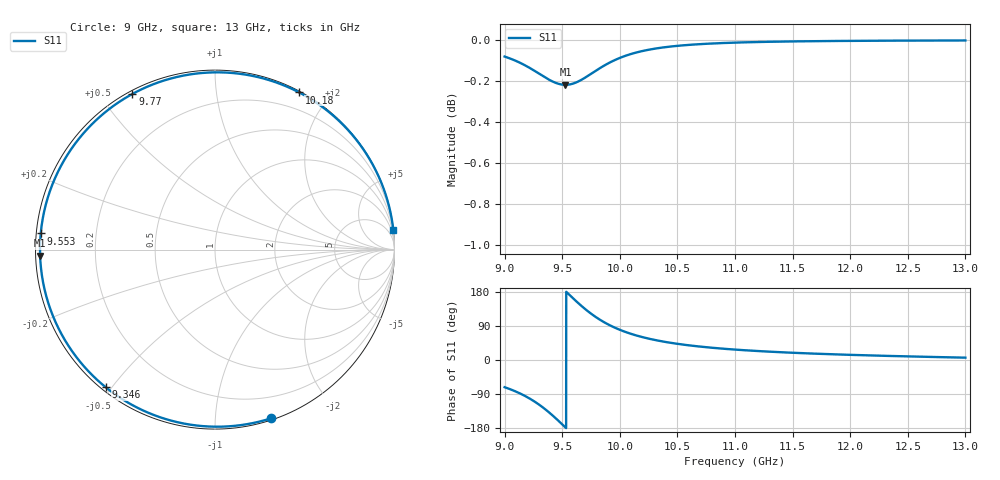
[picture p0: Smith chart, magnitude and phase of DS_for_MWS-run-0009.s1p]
! TOUCHSTONE file generated by CST DESIGN STUDIO
! Date and time: Tue Feb  4 14:14:41 2025
! Project name: C:\Work\MatlabApps\UnitCellOptimizationMatlab\CST\unitcell.cst
! Tree item: Tasks\Sweep1\SPara1\S-Parameters
! Header version: 2024
! Port assignment regex: !\s*Touchstone port\s*([0-9]+)\s*=\s*(CST MWS port|CST DES external port|CST DES block port)\s*(.+)\s* \(\"(.*)\"\)(\s*mode\s*([0-9]+))?.*
! Touchstone port assignment:
! Touchstone port 1 = CST DES external port 1 ("")
# GHz S MA R 50
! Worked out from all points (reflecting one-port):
!   4001 points, 9 GHz to 13 GHz, reference 50 ohm
!   lowest |S11| = -0.2 dB at 9.528 GHz (marker M1), VSWR 78.87, Z = 0.634 - j0.888 ohm
!   phase of S11 starts at -72 deg and turns -282 deg over the sweep
!   S11 on the Smith chart (normalised r, x): 9 GHz: 0.01, -1.38; 9.346 GHz: 0.01, -0.48; 9.553 GHz: 0.01, +0.05; 9.77 GHz: 0.01, +0.60; 10.18 GHz: 0.01, +1.67; 13 GHz: 0, +19
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9  0.9905 -71.8
9.096  0.9882 -83.0
9.203  0.9848 -99.2
9.278  0.9819 -113.3
9.346  0.9792 -128.4
9.419  0.9767 -147.0
9.461  0.9757 -158.6
9.5  0.9751 -169.8
9.528  0.975 -178.0
9.553  0.9751 174.7
9.607  0.9759 159.1
9.668  0.9777 142.4
9.719  0.9797 129.6
9.77  0.9818 117.9
9.818  0.9837 108.1
9.871  0.9858 98.5
9.93  0.9878 89.1
10  0.9898 79.7
10.085  0.9917 70.2
10.178  0.9933 61.8
10.325  0.9951 51.6
10.5  0.9965 42.7
10.721  0.9975 34.6
11  0.9983 27.5
11.5  0.9989 19.1
12  0.9992 13.6
12.5  0.9994 9.5
13  0.9995 6.2
